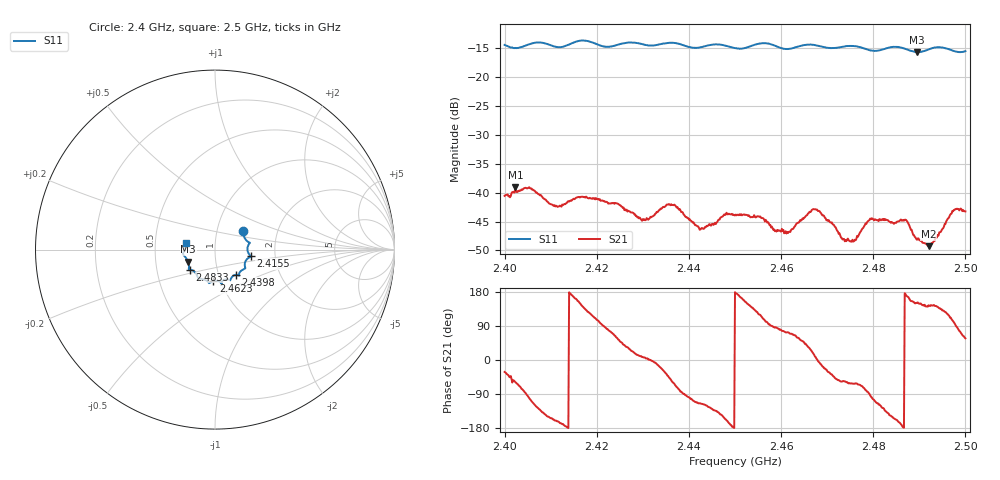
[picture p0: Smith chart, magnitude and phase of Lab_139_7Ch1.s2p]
# Hz S RI R 50
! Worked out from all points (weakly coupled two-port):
!   601 points, 2.4 GHz to 2.5 GHz, reference 50 ohm
!   highest |S21| = -39.01 dB at 2.4023 GHz (marker M1); lowest = -49.3 dB at 2.492 GHz (marker M2)
!   lowest |S11| = -15.7 dB at 2.4895 GHz (marker M3), VSWR 1.39, Z = 36.7 - j5.12 ohm
!   |S11| at or under -10 dB: start of sweep to end of sweep
!   S12 and S22 are empty: the file has one direction only
!   S11 on the Smith chart (normalised r, x): 2.4 GHz: 1.33, +0.29; 2.4155 GHz: 1.49, -0.11; 2.4398 GHz: 1.21, -0.35; 2.4623 GHz: 0.92, -0.34; 2.4833 GHz: 0.74, -0.17; 2.5 GHz: 0.72, +0.05
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2.4e9  0.1565 0.1057  0.00799 -0.00489  0 0  0 0
2.402333e9  0.1633 0.0708  0.00586 -0.00955  0 0  0 0
2.405667e9  0.1891 0.04  -0.0029 -0.0104  0 0  0 0
2.411167e9  0.1813 0.0121  -0.00724 -0.00263  0 0  0 0
2.4155e9  0.1984 -0.036  -0.00855 0.00289  0 0  0 0
2.416667e9  0.2023 -0.0401  -0.0075 0.00533  0 0  0 0
2.430167e9  0.1538 -0.1129  0.00578 0.00068  0 0  0 0
2.433333e9  0.1341 -0.1343  0.00667 -0.00168  0 0  0 0
2.436667e9  0.1335 -0.1448  0.00382 -0.00678  0 0  0 0
2.439833e9  0.1167 -0.1397  -0.000802 -0.00598  0 0  0 0
2.442833e9  0.0923 -0.156  -0.00215 -0.00445  0 0  0 0
2.45e9  0.064 -0.1654  -0.00635 0.000117  0 0  0 0
2.462333e9  -0.00865 -0.176  0.00172 0.00452  0 0  0 0
2.466667e9  -0.0336 -0.1869  0.00653 0.00274  0 0  0 0
2.475333e9  -0.0917 -0.161  0.00179 -0.0033  0 0  0 0
2.479333e9  -0.1064 -0.132  -0.00031 -0.00596  0 0  0 0
2.483333e9  -0.1396 -0.1116  -0.00442 -0.00354  0 0  0 0
2.487e9  -0.1447 -0.0976  -0.0058 0.000618  0 0  0 0
2.4895e9  -0.1488 -0.0677  -0.00341 0.00192  0 0  0 0
2.492e9  -0.1685 -0.0378  -0.0028 0.002  0 0  0 0
2.497333e9  -0.1681 -0.00248  -0.0015 0.00673  0 0  0 0
2.5e9  -0.1627 0.037  0.00374 0.00578  0 0  0 0
